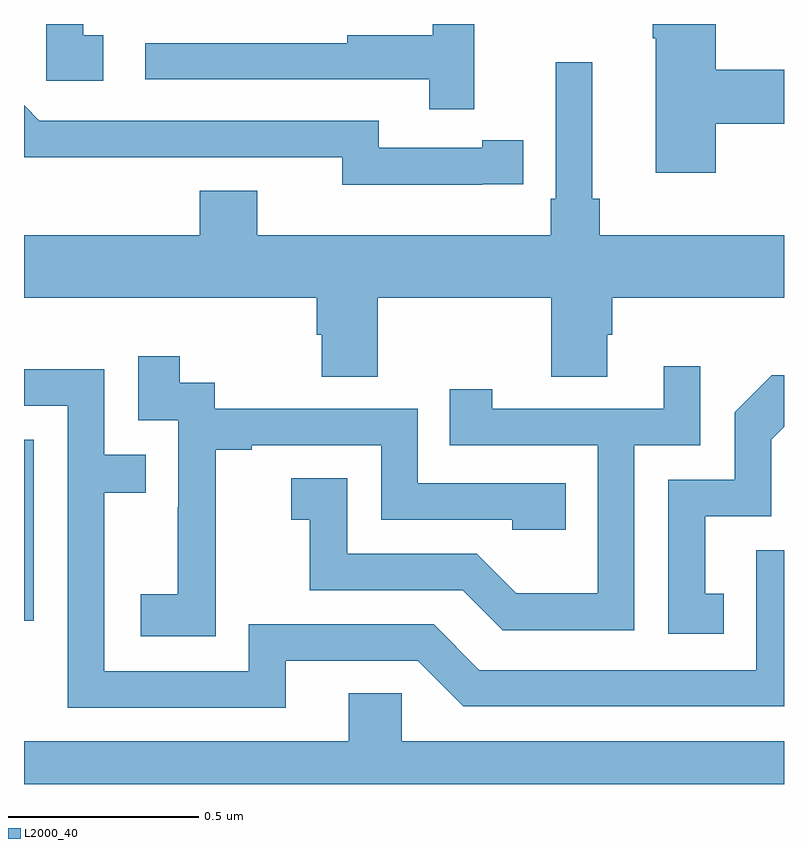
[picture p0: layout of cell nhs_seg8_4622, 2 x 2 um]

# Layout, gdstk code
import gdstk
lib = gdstk.Library(unit=1e-6, precision=1e-09)
def R(c, l, rs):  # rectangles x0, y0, x1, y1
    for r in rs: c.add(gdstk.rectangle(r[:2], r[2:], *l))
def P(c, l, *ps):  # polygons
    for p in ps: c.add(gdstk.Polygon(p, *l))
L2000_40 = (2000, 40)

nhs_seg8_4622 = lib.new_cell('nhs_seg8_4622')
R(nhs_seg8_4622, L2000_40, [(173,1102.329,173.025,1102.806)])
P(nhs_seg8_4622, L2000_40, [(174.185,1103.9),(174.075,1103.9),(174.075,1103.87),(173.851,1103.87),(173.851,1103.85),(173.319,1103.85),(173.319,1103.754),(174.067,1103.754),(174.067,1103.676),(174.185,1103.676)],
  [(173.209,1103.871),(173.156,1103.871),(173.156,1103.9),(173.058,1103.9),(173.058,1103.751),(173.209,1103.751)],
  [(174.821,1103.638),(175,1103.638),(175,1103.78),(174.821,1103.78),(174.821,1103.9),(174.655,1103.9),(174.655,1103.863),(174.662,1103.863),(174.662,1103.508),(174.821,1103.508)],
  [(173.931,1103.18),(174.388,1103.18),(174.388,1102.972),(174.535,1102.972),(174.535,1103.082),(174.548,1103.082),(174.548,1103.18),(175,1103.18),(175,1103.344),(174.515,1103.344),(174.515,1103.44),(174.496,1103.44),(174.496,1103.8),(174.399,1103.8),(174.399,1103.44),(174.386,1103.44),(174.386,1103.344),(173.614,1103.344),(173.614,1103.461),(173.462,1103.461),(173.462,1103.344),(173,1103.344),(173,1103.18),(173.771,1103.18),(173.771,1103.082),(173.783,1103.082),(173.783,1102.972),(173.931,1102.972)],
  [(174.206,1103.478),(174.314,1103.478),(174.314,1103.594),(174.206,1103.594),(174.206,1103.574),(173.934,1103.574),(173.934,1103.646),(173.04,1103.646),(173,1103.686),(173,1103.549),(173.378,1103.549),(173.378,1103.55),(173.838,1103.55),(173.838,1103.477),(174.206,1103.477)],
  [(173.505,1102.495),(173.504,1102.495),(173.504,1102.779),(173.599,1102.779),(173.599,1102.791),(173.94,1102.791),(173.94,1102.596),(174.285,1102.596),(174.285,1102.569),(174.425,1102.569),(174.425,1102.692),(174.036,1102.692),(174.036,1102.887),(173.502,1102.887),(173.502,1102.956),(173.41,1102.956),(173.41,1103.026),(173.301,1103.026),(173.301,1102.857),(173.406,1102.857),(173.406,1102.628),(173.405,1102.628),(173.405,1102.399),(173.307,1102.399),(173.307,1102.289),(173.505,1102.289)],
  [(174.606,1102.791),(174.78,1102.791),(174.78,1102.999),(174.683,1102.999),(174.683,1102.887),(174.232,1102.887),(174.232,1102.939),(174.121,1102.939),(174.121,1102.791),(174.51,1102.791),(174.51,1102.402),(174.296,1102.402),(174.192,1102.506),(173.85,1102.506),(173.85,1102.705),(173.703,1102.705),(173.703,1102.595),(173.752,1102.595),(173.752,1102.41),(174.155,1102.41),(174.26,1102.305),(174.606,1102.305)],
  [(173.689,1102.224),(174.036,1102.224),(174.156,1102.104),(175,1102.104),(175,1102.515),(174.927,1102.515),(174.927,1102.2),(174.198,1102.2),(174.078,1102.32),(173.592,1102.32),(173.592,1102.197),(173.211,1102.197),(173.211,1102.666),(173.321,1102.666),(173.321,1102.767),(173.211,1102.767),(173.211,1102.992),(173,1102.992),(173,1102.896),(173.115,1102.896),(173.115,1102.101),(173.689,1102.101)],
  [(174.842,1102.401),(174.793,1102.401),(174.793,1102.605),(174.966,1102.605),(174.966,1102.806),(175,1102.84),(175,1102.976),(174.968,1102.976),(174.87,1102.878),(174.87,1102.701),(174.696,1102.701),(174.696,1102.296),(174.842,1102.296)],
  [(175,1102.012),(173.994,1102.012),(173.994,1102.139),(173.855,1102.139),(173.855,1102.012),(173,1102.012),(173,1101.9),(175,1101.9)])

lib.write_gds('nhs_seg8_4622.gds')
